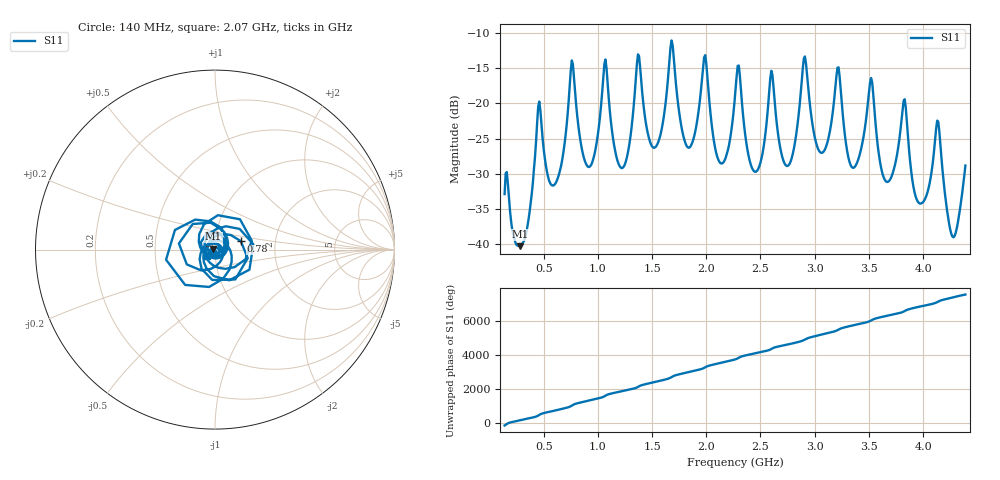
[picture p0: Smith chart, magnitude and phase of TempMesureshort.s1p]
! 140 4400 10
# MHz S MA R 50.0
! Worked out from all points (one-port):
!   426 points, 140 MHz to 4.39 GHz, reference 50 ohm
!   lowest |S11| = -40.3 dB at 280 MHz (marker M1), VSWR 1.02, Z = 49.1 + j0.425 ohm
!   |S11| at or under -10 dB: start of sweep to end of sweep
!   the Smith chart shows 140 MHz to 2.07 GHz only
!   S11 on the Smith chart (normalised r, x): 140 MHz: 0.96, -0.02; 780 MHz: 1.33, +0.13; 2.07 GHz: 0.92, -0.06
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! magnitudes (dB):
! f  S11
! 140 MHz  -32.9
! 280 MHz  -40.3
! 460 MHz  -19.8
! 680 MHz  -27.2
! 780 MHz  -16.4
! 920 MHz  -29.0
! 1.07 GHz  -13.8
! 1.21 GHz  -29.1
! 1.37 GHz  -13.1
! 1.51 GHz  -26.3
! 1.68 GHz  -11.1
! 1.74 GHz  -20.1
! 1.99 GHz  -13.2
! 2.07 GHz  -25.3
! 2.27 GHz  -18.1
! 2.44 GHz  -29.6
! 2.8 GHz  -27.0
! 2.91 GHz  -13.4
! 3.06 GHz  -27.0
! 3.22 GHz  -14.9
! 3.33 GHz  -28.7
! 3.52 GHz  -16.4
! 3.65 GHz  -30.9
! 3.86 GHz  -24.7
! 3.98 GHz  -34.2
! 4.14 GHz  -22.6
! 4.28 GHz  -39.0
! 4.39 GHz  -28.8
